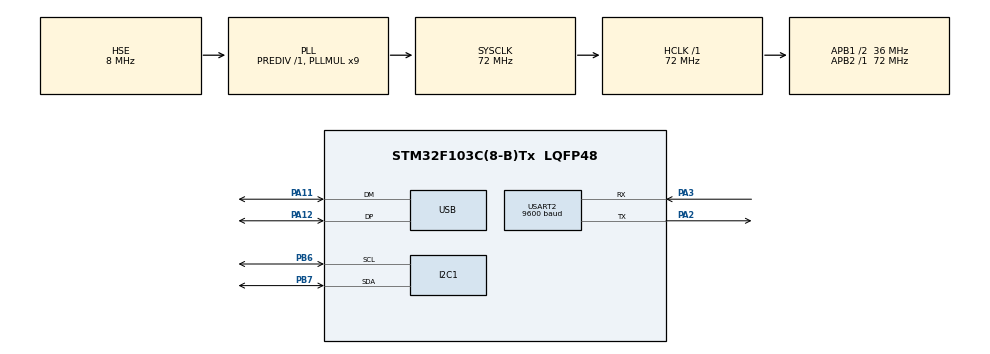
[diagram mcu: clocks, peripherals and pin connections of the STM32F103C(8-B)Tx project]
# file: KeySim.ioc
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Dma.Request0=USART2_RX
Dma.USART2_RX.0.Direction=DMA_PERIPH_TO_MEMORY
Dma.USART2_RX.0.Instance=DMA1_Channel6
Dma.USART2_RX.0.MemDataAlignment=DMA_MDATAALIGN_BYTE
Dma.USART2_RX.0.MemInc=DMA_MINC_ENABLE
Dma.USART2_RX.0.Mode=DMA_NORMAL
Dma.USART2_RX.0.PeriphDataAlignment=DMA_PDATAALIGN_BYTE
Dma.USART2_RX.0.PeriphInc=DMA_PINC_DISABLE
Dma.USART2_RX.0.Priority=DMA_PRIORITY_LOW
I2C1.I2C_Mode=I2C_Fast
Mcu.Family=STM32F1
Mcu.Name=STM32F103C(8-B)Tx
Mcu.Package=LQFP48
NVIC.DMA1_Channel6_IRQn=true\:0\:0\:false\:false\:true\:false\:true
NVIC.I2C1_EV_IRQn=true\:0\:0\:false\:false\:true\:true\:true
NVIC.PriorityGroup=NVIC_PRIORITYGROUP_4
NVIC.USB_LP_CAN1_RX0_IRQn=true\:0\:0\:false\:false\:true\:false\:true
PA11.Mode=Device
PA11.Signal=USB_DM
PA12.Mode=Device
PA12.Signal=USB_DP
PA13.Mode=JTAG_4_pins
PA13.Signal=SYS_JTMS-SWDIO
PA14.Mode=JTAG_4_pins
PA14.Signal=SYS_JTCK-SWCLK
PA15.Mode=JTAG_4_pins
PA15.Signal=SYS_JTDI
PA2.Mode=Asynchronous
PA2.Signal=USART2_TX
PA3.Mode=Asynchronous
PA3.Signal=USART2_RX
PB3.Mode=JTAG_4_pins
PB3.Signal=SYS_JTDO-TRACESWO
PB6.Mode=I2C
PB6.Signal=I2C1_SCL
PB7.Mode=I2C
PB7.Signal=I2C1_SDA
PD0-OSC_IN.Mode=HSE-External-Oscillator
PD0-OSC_IN.Signal=RCC_OSC_IN
PD1-OSC_OUT.Mode=HSE-External-Oscillator
PD1-OSC_OUT.Signal=RCC_OSC_OUT
ProjectManager.HeapSize=0x200
ProjectManager.StackSize=0x400
ProjectManager.TargetToolchain=MDK-ARM V5.27
RCC.AHBFreq_Value=72000000
RCC.APB1CLKDivider=RCC_HCLK_DIV2
RCC.APB1Freq_Value=36000000
RCC.APB1TimFreq_Value=72000000
RCC.APB2Freq_Value=72000000
RCC.APB2TimFreq_Value=72000000
RCC.HCLKFreq_Value=72000000
RCC.PLLMUL=RCC_PLL_MUL9
RCC.SYSCLKFreq_VALUE=72000000
RCC.SYSCLKSource=RCC_SYSCLKSOURCE_PLLCLK
RCC.USBFreq_Value=48000000
RCC.USBPrescaler=RCC_USBCLKSOURCE_PLL_DIV1_5
USART2.BaudRate=9600
USART2.VirtualMode=VM_ASYNC
USB_DEVICE.CLASS_NAME_FS=CUSTOM_HID
USB_DEVICE.USBD_CUSTOMHID_OUTREPORT_BUF_SIZE=32
USB_DEVICE.USBD_CUSTOM_HID_REPORT_DESC_SIZE=101
USB_DEVICE.USBD_MAX_NUM_INTERFACES=3
USB_DEVICE.VirtualMode=CustomHid
USB_DEVICE.VirtualModeFS=Custom_Hid_FS
VP_USB_DEVICE_VS_USB_DEVICE_CUSTOM_HID_FS.Mode=CUSTOM_HID_FS
board=custom

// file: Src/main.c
/* USER CODE BEGIN Header */
/**
  ******************************************************************************
  * @file           : main.c
  * @brief          : Main program body
  ******************************************************************************
  * @attention
  *
  * <h2><center>&copy; Copyright (c) 2020 STMicroelectronics.
  * All rights reserved.</center></h2>
  *
  * This software component is licensed by ST under Ultimate Liberty license
  * SLA0044, the "License"; You may not use this file except in compliance with
  * the License. You may obtain a copy of the License at:
  *                             www.st.com/SLA0044
  *
  ******************************************************************************
  */
/* USER CODE END Header */

#include "main.h"
#include "usb_device.h"

/* USER CODE BEGIN PTD */
typedef struct{
	uint8_t   reportID;
	uint8_t   buttonMask;
	int8_t   	dx;
	int8_t   	dy;
	int8_t   	dWheel;
} MouseReport_t;

typedef struct{
	uint8_t   reportID;
	uint8_t   modifier;
	uint8_t   _RESERVED;
	uint8_t   byte1;
	uint8_t   byte2;
	//uint8_t 	backupKeys[3]; // In case of need, Plese modify the ReportDescriptor & Max_EPIN_Size accordingly.
} KeyboardReport_t;

typedef struct
{
  uint8_t  reportId;                                 // Report ID = 0x03 (3)
                                                     // Collection: CA:TouchScreen CL:Finger
  uint8_t  DIG_TouchScreenFingerTipSwitch : 1;       // Usage 0x000D0042: Tip Switch, Value = 0 to 1
  uint8_t  DIG_TouchScreenFingerInRange : 1;         // Usage 0x000D0032: In Range, Value = 0 to 1
  uint8_t  DIG_TouchScreenFingerConfidence : 1;      // Usage 0x000D0047: Confidence, Value = 0 to 1
  uint8_t  : 1;                                      // Pad
  uint8_t  : 1;                                      // Pad
  uint8_t  : 1;                                      // Pad
  uint8_t  : 1;                                      // Pad
  uint8_t  : 1;                                      // Pad
  uint8_t  DIG_TouchScreenFingerContactIdentifier;   // Usage 0x000D0051: Contact Identifier, Value = 0 to 1
  uint8_t  GD_TouchScreenFingerX;                    // Usage 0x00010030: X, Value = 0 to 4213
  uint8_t  GD_TouchScreenFingerY;                    // Usage 0x00010031: Y, Value = 0 to 4213
  uint8_t  DIG_TouchScreenFingerTipSwitch_1 : 1;     // Usage 0x000D0042: Tip Switch, Value = 0 to 1
  uint8_t  DIG_TouchScreenFingerInRange_1 : 1;       // Usage 0x000D0032: In Range, Value = 0 to 1
  uint8_t  DIG_TouchScreenFingerConfidence_1 : 1;    // Usage 0x000D0047: Confidence, Value = 0 to 1
  uint8_t  : 1;                                      // Pad
  uint8_t  : 1;                                      // Pad
  uint8_t  : 1;                                      // Pad
  uint8_t  : 1;                                      // Pad
  uint8_t  : 1;                                      // Pad
  uint8_t  DIG_TouchScreenFingerContactIdentifier_1; // Usage 0x000D0051: Contact Identifier, Value = 0 to 1
  uint8_t  GD_TouchScreenFingerX_1;                  // Usage 0x00010030: X, Value = 0 to 4213
  uint8_t  GD_TouchScreenFingerY_1;                  // Usage 0x00010031: Y, Value = 0 to 4213
                                                     // Collection: CA:TouchScreen
  uint8_t  DIG_TouchScreenContactCount;              // Usage 0x000D0054: Contact Count, Value = 0 to 8
} TouchScreenReport_t;

typedef union {
	KeyboardReport_t keyboardReport;	// 5 Bytes
	MouseReport_t mouseReport;				// 5 Bytes
} ReportUnion;

typedef struct {
	uint8_t UniqueID;		// 1 Byte	| 1 Byte Recieve
	ReportUnion Report;	// 5 Byte	| 3 Byte Recieve - ReportID + Byte1 + Byte2
} UART_Key_t;

/* USER CODE END PTD */

/* USER CODE BEGIN PD */
#define FLASH_TIMEOUT		1000
#define FLASH_UNLOCK_KEY1	0x45670123
#define	FLASH_UNLOCK_KEY2	0xCDEF89AB
#define NUMBER_OF_KEYS 8
/* USER CODE END PD */

I2C_HandleTypeDef hi2c1;

UART_HandleTypeDef huart2;
DMA_HandleTypeDef hdma_usart2_rx;

/* USER CODE BEGIN PV */
ReportUnion KeyList[NUMBER_OF_KEYS]; // The size: # of the keys

/*

KeyList[$UniqueID] = {
	<ReportUnion> Report -> each is writen according to ReportID -> ReportUnioun Report.keyboardReport = incommingReport
};

*/
uint8_t UART2_rxBuffer[4];
MouseReport_t mouse_report;
KeyboardReport_t keyboard_report;
TouchScreenReport_t touch_screen_report;

extern USBD_HandleTypeDef hUsbDeviceFS;
extern uint8_t USBD_CUSTOM_HID_SendReport(USBD_HandleTypeDef  *pdev,
                                   uint8_t *report,
                                   uint16_t len);
/* USER CODE END PV */

void SystemClock_Config(void);
static void MX_GPIO_Init(void);
static void MX_DMA_Init(void);
static void MX_I2C1_Init(void);
static void MX_USART2_UART_Init(void);

int main(void)
{
  /* USER CODE BEGIN 1 */
	mouse_report.reportID 	= 0x02;
	mouse_report.dx 				= 100;
	mouse_report.dy 				= 0;
	mouse_report.dWheel 		= 0;
	mouse_report.buttonMask = 0;

	keyboard_report.reportID		= 0x01;

	touch_screen_report.reportId = 0x03;
	touch_screen_report.DIG_TouchScreenFingerTipSwitch 		= 1;
	touch_screen_report.DIG_TouchScreenFingerInRange 			= 1;
	touch_screen_report.DIG_TouchScreenFingerConfidence 	= 1;
	touch_screen_report.GD_TouchScreenFingerX 						= (uint16_t) 100;
	touch_screen_report.GD_TouchScreenFingerY 						= (uint16_t) 100;
	touch_screen_report.DIG_TouchScreenFingerContactIdentifier = 0;
	touch_screen_report.DIG_TouchScreenContactCount = 1;

  /* USER CODE END 1 */

  /* MCU Configuration--------------------------------------------------------*/

  /* Reset of all peripherals, Initializes the Flash interface and the Systick. */
  HAL_Init();

  /* Configure the system clock */
  SystemClock_Config();

  /* Initialize all configured peripherals */
  MX_GPIO_Init();
  MX_DMA_Init();
  MX_USB_DEVICE_Init();
  MX_I2C1_Init();
  MX_USART2_UART_Init();
  /* USER CODE BEGIN 2 */

	HAL_UART_Receive_DMA(&huart2, UART2_rxBuffer, 4);

  /* USER CODE END 2 */

  /* Infinite loop */
  while (1)
  {

    /* USER CODE BEGIN 3 */
		USBD_CUSTOM_HID_SendReport(&hUsbDeviceFS, (uint8_t *) &mouse_report, sizeof(MouseReport_t));
		HAL_Delay(500);

		keyboard_report.modifier	= 0;
		keyboard_report.byte1 		= 0x04;
		USBD_CUSTOM_HID_SendReport(&hUsbDeviceFS, (uint8_t *) &keyboard_report, sizeof(KeyboardReport_t));
		HAL_Delay(500);

		keyboard_report.modifier	= 0;
		keyboard_report.byte1 		= 0x00;
		USBD_CUSTOM_HID_SendReport(&hUsbDeviceFS, (uint8_t *) &keyboard_report, sizeof(KeyboardReport_t));
		HAL_Delay(500);

		USBD_CUSTOM_HID_SendReport(&hUsbDeviceFS, (uint8_t *) &touch_screen_report, sizeof(TouchScreenReport_t));
		HAL_Delay(500);

  }
  /* USER CODE END 3 */
}

void SystemClock_Config(void)
{
  RCC_OscInitTypeDef RCC_OscInitStruct = {0};
  RCC_ClkInitTypeDef RCC_ClkInitStruct = {0};
  RCC_PeriphCLKInitTypeDef PeriphClkInit = {0};

  /** Initializes the CPU, AHB and APB busses clocks
  */
  RCC_OscInitStruct.OscillatorType = RCC_OSCILLATORTYPE_HSE;
  RCC_OscInitStruct.HSEState = RCC_HSE_ON;
  RCC_OscInitStruct.HSEPredivValue = RCC_HSE_PREDIV_DIV1;
  RCC_OscInitStruct.HSIState = RCC_HSI_ON;
  RCC_OscInitStruct.PLL.PLLState = RCC_PLL_ON;
  RCC_OscInitStruct.PLL.PLLSource = RCC_PLLSOURCE_HSE;
  RCC_OscInitStruct.PLL.PLLMUL = RCC_PLL_MUL9;
  if (HAL_RCC_OscConfig(&RCC_OscInitStruct) != HAL_OK)
  {
    Error_Handler();
  }
  /** Initializes the CPU, AHB and APB busses clocks
  */
  RCC_ClkInitStruct.ClockType = RCC_CLOCKTYPE_HCLK|RCC_CLOCKTYPE_SYSCLK
                              |RCC_CLOCKTYPE_PCLK1|RCC_CLOCKTYPE_PCLK2;
  RCC_ClkInitStruct.SYSCLKSource = RCC_SYSCLKSOURCE_PLLCLK;
  RCC_ClkInitStruct.AHBCLKDivider = RCC_SYSCLK_DIV1;
  RCC_ClkInitStruct.APB1CLKDivider = RCC_HCLK_DIV2;
  RCC_ClkInitStruct.APB2CLKDivider = RCC_HCLK_DIV1;

  if (HAL_RCC_ClockConfig(&RCC_ClkInitStruct, FLASH_LATENCY_2) != HAL_OK)
  {
    Error_Handler();
  }
  PeriphClkInit.PeriphClockSelection = RCC_PERIPHCLK_USB;
  PeriphClkInit.UsbClockSelection = RCC_USBCLKSOURCE_PLL_DIV1_5;
  if (HAL_RCCEx_PeriphCLKConfig(&PeriphClkInit) != HAL_OK)
  {
    Error_Handler();
  }
}

static void MX_I2C1_Init(void)
{

  hi2c1.Instance = I2C1;
  hi2c1.Init.ClockSpeed = 400000;
  hi2c1.Init.DutyCycle = I2C_DUTYCYCLE_2;
  hi2c1.Init.OwnAddress1 = 0;
  hi2c1.Init.AddressingMode = I2C_ADDRESSINGMODE_7BIT;
  hi2c1.Init.DualAddressMode = I2C_DUALADDRESS_DISABLE;
  hi2c1.Init.OwnAddress2 = 0;
  hi2c1.Init.GeneralCallMode = I2C_GENERALCALL_DISABLE;
  hi2c1.Init.NoStretchMode = I2C_NOSTRETCH_DISABLE;
  if (HAL_I2C_Init(&hi2c1) != HAL_OK)
  {
    Error_Handler();
  }

}

static void MX_USART2_UART_Init(void)
{

  huart2.Instance = USART2;
  huart2.Init.BaudRate = 9600;
  huart2.Init.WordLength = UART_WORDLENGTH_8B;
  huart2.Init.StopBits = UART_STOPBITS_1;
  huart2.Init.Parity = UART_PARITY_NONE;
  huart2.Init.Mode = UART_MODE_TX_RX;
  huart2.Init.HwFlowCtl = UART_HWCONTROL_NONE;
  huart2.Init.OverSampling = UART_OVERSAMPLING_16;
  if (HAL_UART_Init(&huart2) != HAL_OK)
  {
    Error_Handler();
  }

}

static void MX_DMA_Init(void)
{

  /* DMA controller clock enable */
  __HAL_RCC_DMA1_CLK_ENABLE();

  /* DMA interrupt init */
  /* DMA1_Channel6_IRQn interrupt configuration */
  HAL_NVIC_SetPriority(DMA1_Channel6_IRQn, 0, 0);
  HAL_NVIC_EnableIRQ(DMA1_Channel6_IRQn);

}

static void MX_GPIO_Init(void)
{

  /* GPIO Ports Clock Enable */
  __HAL_RCC_GPIOD_CLK_ENABLE();
  __HAL_RCC_GPIOA_CLK_ENABLE();
  __HAL_RCC_GPIOB_CLK_ENABLE();

}

/* USER CODE BEGIN 4 */

void HAL_UART_RxCpltCallback(UART_HandleTypeDef *huart)
{
		if(UART2_rxBuffer[1] == 0x01){			// Unique ID UART2_rxBuffer[0]

			KeyList[UART2_rxBuffer[0]].keyboardReport.reportID = 0x01;
			KeyList[UART2_rxBuffer[0]].keyboardReport.modifier = UART2_rxBuffer[2];
			KeyList[UART2_rxBuffer[0]].keyboardReport.byte1 = UART2_rxBuffer[3];

		} else if(UART2_rxBuffer[1] == 0x02){

			KeyList[UART2_rxBuffer[0]].mouseReport.reportID = 0x02;
			KeyList[UART2_rxBuffer[0]].mouseReport.buttonMask = UART2_rxBuffer[2];

		}

    HAL_UART_Transmit(&huart2, UART2_rxBuffer, 4, 100);
    HAL_UART_Receive_DMA(&huart2, UART2_rxBuffer, 4);
}

/* USER CODE END 4 */

void Error_Handler(void)
{
}

/************************ (C) COPYRIGHT STMicroelectronics *****END OF FILE****/
